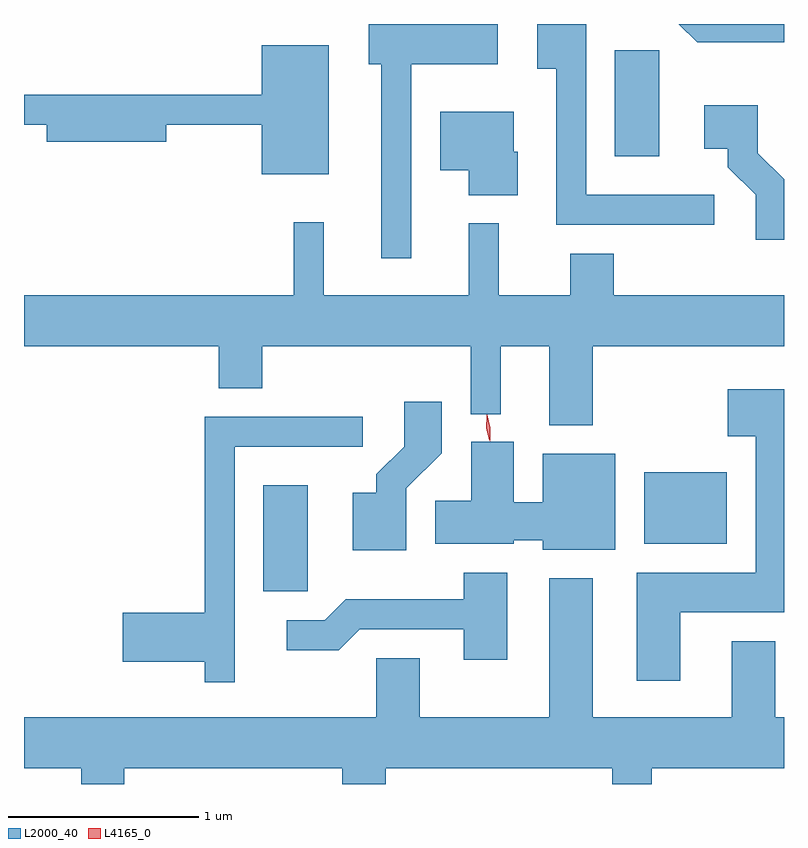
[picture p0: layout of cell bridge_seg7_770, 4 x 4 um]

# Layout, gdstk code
import gdstk
lib = gdstk.Library(unit=1e-6, precision=1e-09)
def R(c, l, rs):  # rectangles x0, y0, x1, y1
    for r in rs: c.add(gdstk.rectangle(r[:2], r[2:], *l))
def P(c, l, *ps):  # polygons
    for p in ps: c.add(gdstk.Polygon(p, *l))
L2000_40 = (2000, 40)
L4165_0 = (4165, 0)

bridge_seg7_770 = lib.new_cell('bridge_seg7_770')
R(bridge_seg7_770, L2000_40, [(208.266,1799.606,208.499,1800.164), (210.271,1799.856,210.704,1800.234), (210.116,1801.896,210.349,1802.454)])
P(bridge_seg7_770, L2000_40, [(211.006,1802.592),(210.453,1802.592),(210.549,1802.496),(211.006,1802.496)],
  [(209.044,1802.381),(209.499,1802.381),(209.499,1802.592),(208.821,1802.592),(208.821,1802.381),(208.886,1802.381),(208.886,1801.358),(209.044,1801.358)],
  [(210.638,1801.694),(209.964,1801.694),(209.964,1802.592),(209.706,1802.592),(209.706,1802.356),(209.806,1802.356),(209.806,1801.536),(210.638,1801.536)],
  [(208.609,1802.479),(208.256,1802.479),(208.256,1802.219),(207.006,1802.219),(207.006,1802.061),(207.126,1802.061),(207.126,1801.971),(207.754,1801.971),(207.754,1802.061),(208.256,1802.061),(208.256,1801.801),(208.609,1801.801)],
  [(211.006,1801.775),(210.869,1801.912),(210.869,1802.164),(210.586,1802.164),(210.586,1801.936),(210.711,1801.936),(210.711,1801.839),(210.856,1801.694),(210.856,1801.456),(211.006,1801.456)],
  [(209.604,1801.919),(209.584,1801.919),(209.584,1802.129),(209.196,1802.129),(209.196,1801.821),(209.346,1801.821),(209.346,1801.691),(209.604,1801.691)],
  [(209.999,1800.896),(211.006,1800.896),(211.006,1801.164),(210.109,1801.164),(210.109,1801.384),(209.881,1801.384),(209.881,1801.164),(209.504,1801.164),(209.504,1801.543),(209.346,1801.543),(209.346,1801.164),(208.584,1801.164),(208.584,1801.548),(208.426,1801.548),(208.426,1801.164),(207.006,1801.164),(207.006,1800.896),(208.031,1800.896),(208.031,1800.676),(208.259,1800.676),(208.259,1800.896),(209.356,1800.896),(209.356,1800.538),(209.514,1800.538),(209.514,1800.896),(209.771,1800.896),(209.771,1800.481),(209.999,1800.481)],
  [(210.459,1799.496),(211.006,1799.496),(211.006,1800.669),(210.711,1800.669),(210.711,1800.421),(210.856,1800.421),(210.856,1799.704),(210.231,1799.704),(210.231,1799.136),(210.459,1799.136)],
  [(209.019,1800.149),(209.204,1800.334),(209.204,1800.604),(209.006,1800.604),(209.006,1800.367),(208.861,1800.222),(208.861,1800.124),(208.736,1800.124),(208.736,1799.821),(209.019,1799.821)],
  [(208.114,1800.366),(208.788,1800.366),(208.788,1800.524),(207.956,1800.524),(207.956,1799.494),(207.526,1799.494),(207.526,1799.236),(207.956,1799.236),(207.956,1799.128),(208.114,1799.128)],
  [(210.119,1800.329),(209.736,1800.329),(209.736,1800.074),(209.584,1800.074),(209.584,1800.394),(209.361,1800.394),(209.361,1800.084),(209.171,1800.084),(209.171,1799.856),(209.584,1799.856),(209.584,1799.876),(209.736,1799.876),(209.736,1799.826),(210.119,1799.826)],
  [(209.549,1799.704),(209.321,1799.704),(209.321,1799.564),(208.699,1799.564),(208.589,1799.454),(208.388,1799.454),(208.388,1799.296),(208.662,1799.296),(208.772,1799.406),(209.321,1799.406),(209.321,1799.246),(209.549,1799.246)],
  [(207.006,1798.676),(207.306,1798.676),(207.306,1798.592),(207.534,1798.592),(207.534,1798.676),(208.681,1798.676),(208.681,1798.592),(208.909,1798.592),(208.909,1798.676),(210.101,1798.676),(210.101,1798.592),(210.309,1798.592),(210.309,1798.676),(211.006,1798.676),(211.006,1798.944),(210.959,1798.944),(210.959,1799.344),(210.731,1799.344),(210.731,1798.944),(209.999,1798.944),(209.999,1799.674),(209.771,1799.674),(209.771,1798.944),(209.089,1798.944),(209.089,1799.254),(208.861,1799.254),(208.861,1798.944),(207.006,1798.944)])
P(bridge_seg7_770, L4165_0, [(209.454,1800.399),(209.454,1800.4),(209.438,1800.464),(209.441,1800.531),(209.441,1800.531),(209.442,1800.531),(209.458,1800.466),(209.455,1800.4)],
  [(209.459,1800.397),(209.459,1800.398),(209.441,1800.465),(209.442,1800.535),(209.443,1800.535),(209.443,1800.535),(209.461,1800.467),(209.46,1800.398)])

lib.write_gds('bridge_seg7_770.gds')
